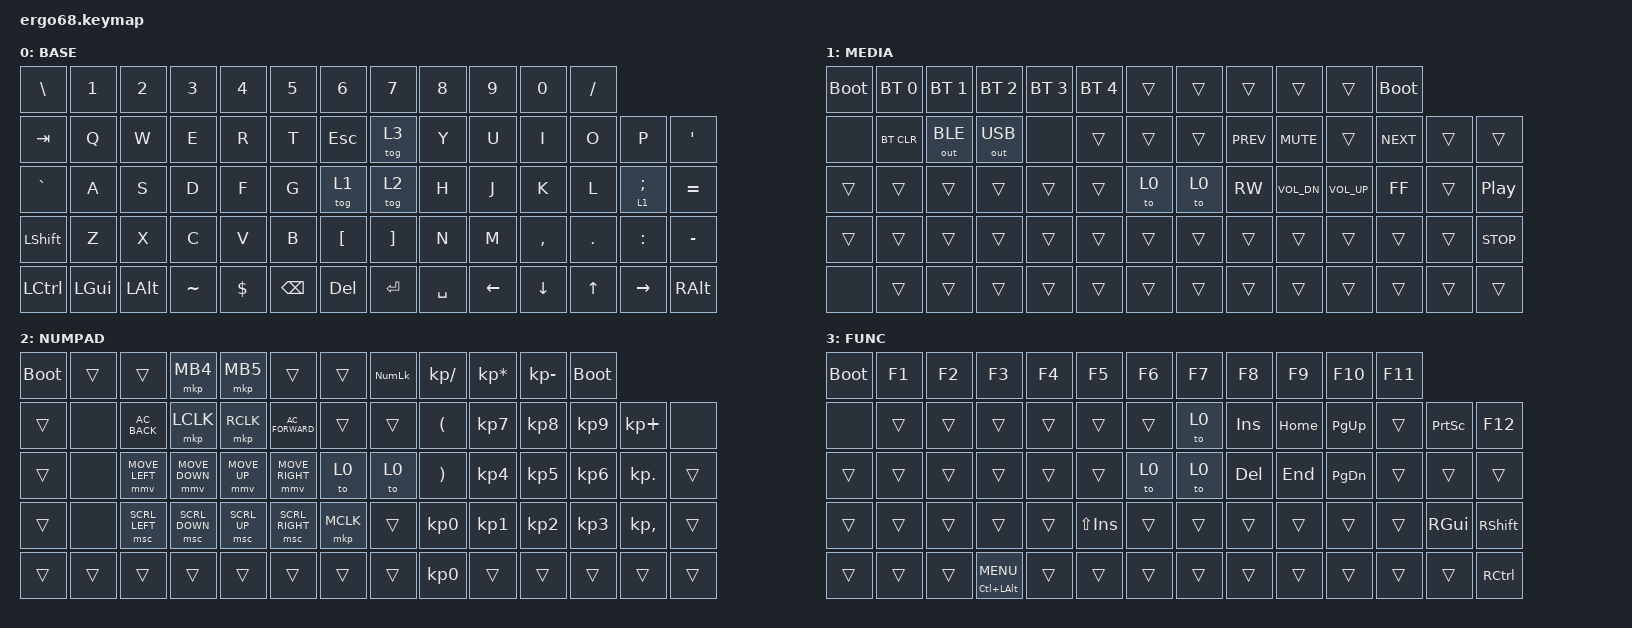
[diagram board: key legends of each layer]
/*
 * Generated from keyboards/ergo68/keymap.c by scripts/qmk_to_zmk_keymap.py. Don't edit it by hand:
 * change keymap.c and run `just ergo68-zmk-keymap`.
 */

#include <behaviors.dtsi>
#include <dt-bindings/zmk/bt.h>
#include <dt-bindings/zmk/keys.h>
#include <dt-bindings/zmk/outputs.h>
#include <dt-bindings/zmk/pointing.h>

/ {
    keymap {
        compatible = "zmk,keymap";

        base {
            display-name = "BASE";
            bindings = <
                &kp BSLH    &kp N1      &kp N2      &kp N3      &kp N4      &kp N5      &kp N6      &kp N7      &kp N8      &kp N9      &kp N0      &kp FSLH
                &kp TAB     &kp Q       &kp W       &kp E       &kp R       &kp T       &kp ESC     &tog 3      &kp Y       &kp U       &kp I       &kp O       &kp P       &kp SQT
                &kp GRAVE   &kp A       &kp S       &kp D       &kp F       &kp G       &tog 1      &tog 2      &kp H       &kp J       &kp K       &kp L       &lt 1 SEMI  &kp EQUAL
                &kp LSHFT   &kp Z       &kp X       &kp C       &kp V       &kp B       &kp LBKT    &kp RBKT    &kp N       &kp M       &kp COMMA   &kp DOT     &kp COLON   &kp MINUS
                &kp LCTRL   &kp LGUI    &kp LALT    &kp TILDE   &kp DOLLAR  &kp BSPC    &kp DEL     &kp RET     &kp SPACE   &kp LEFT    &kp DOWN    &kp UP      &kp RIGHT   &kp RALT
            >;
        };

        media {
            display-name = "MEDIA";
            bindings = <
                &bootloader   &bt BT_SEL 0  &bt BT_SEL 1  &bt BT_SEL 2  &bt BT_SEL 3  &bt BT_SEL 4  &trans        &trans        &trans        &trans        &trans        &bootloader
                &none         &bt BT_CLR    &out OUT_BLE  &out OUT_USB  &none         &trans        &trans        &trans        &kp C_PREV    &kp C_MUTE    &trans        &kp C_NEXT    &trans        &trans
                &trans        &trans        &trans        &trans        &trans        &trans        &to 0         &to 0         &kp C_RW      &kp C_VOL_DN  &kp C_VOL_UP  &kp C_FF      &trans        &kp C_PP
                &trans        &trans        &trans        &trans        &trans        &trans        &trans        &trans        &trans        &trans        &trans        &trans        &trans        &kp C_STOP
                &none         &trans        &trans        &trans        &trans        &trans        &trans        &trans        &trans        &trans        &trans        &trans        &trans        &trans
            >;
        };

        numpad {
            display-name = "NUMPAD";
            bindings = <
                &bootloader       &trans            &trans            &mkp MB4          &mkp MB5          &trans            &trans            &kp KP_NUM        &kp KP_SLASH      &kp KP_MULTIPLY   &kp KP_MINUS      &bootloader
                &trans            &none             &kp C_AC_BACK     &mkp LCLK         &mkp RCLK         &kp C_AC_FORWARD  &trans            &trans            &kp LPAR          &kp KP_N7         &kp KP_N8         &kp KP_N9         &kp KP_PLUS       &none
                &trans            &none             &mmv MOVE_LEFT    &mmv MOVE_DOWN    &mmv MOVE_UP      &mmv MOVE_RIGHT   &to 0             &to 0             &kp RPAR          &kp KP_N4         &kp KP_N5         &kp KP_N6         &kp KP_DOT        &trans
                &trans            &none             &msc SCRL_LEFT    &msc SCRL_DOWN    &msc SCRL_UP      &msc SCRL_RIGHT   &mkp MCLK         &trans            &kp KP_N0         &kp KP_N1         &kp KP_N2         &kp KP_N3         &kp KP_COMMA      &trans
                &trans            &trans            &trans            &trans            &trans            &trans            &trans            &trans            &kp KP_N0         &trans            &trans            &trans            &trans            &trans
            >;
        };

        func {
            display-name = "FUNC";
            bindings = <
                &bootloader          &kp F1               &kp F2               &kp F3               &kp F4               &kp F5               &kp F6               &kp F7               &kp F8               &kp F9               &kp F10              &kp F11
                &none                &trans               &trans               &trans               &trans               &trans               &trans               &to 0                &kp INS              &kp HOME             &kp PG_UP            &trans               &kp PSCRN            &kp F12
                &trans               &trans               &trans               &trans               &trans               &trans               &to 0                &to 0                &kp DEL              &kp END              &kp PG_DN            &trans               &trans               &trans
                &trans               &trans               &trans               &trans               &trans               &kp LS(INS)          &trans               &trans               &trans               &trans               &trans               &trans               &kp RGUI             &kp RSHFT
                &trans               &trans               &trans               &mt LC(LALT) K_MENU  &trans               &trans               &trans               &trans               &trans               &trans               &trans               &trans               &trans               &kp RCTRL
            >;
        };
    };
};
